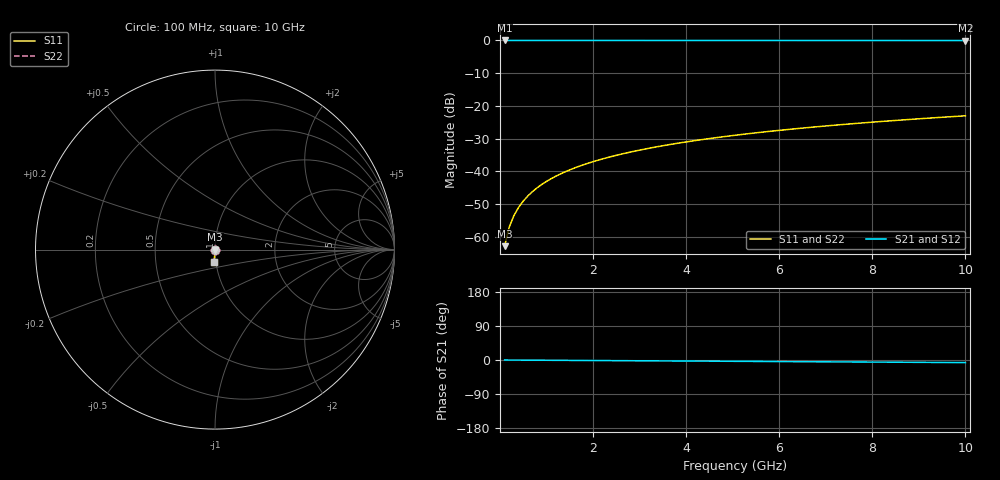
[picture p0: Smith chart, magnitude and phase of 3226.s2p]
# Hz S RI R 50.00
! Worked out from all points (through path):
!   100 points, 100 MHz to 10 GHz, reference 50 ohm
!   highest |S21| = 0.00 dB at 100 MHz (marker M1); lowest = 0.0 dB at 10 GHz (marker M2)
!   lowest |S11| = -62.8 dB at 100 MHz (marker M3), VSWR 1.00, Z = 50 - j0.0706 ohm
!   |S11| at or under -10 dB: start of sweep to end of sweep
!   |S22| runs from -62.8 to -23.0 dB; largest |S21 - S12| = 0
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1e8  0.000164 -0.000706  0.9998 -0.00119  0.9998 -0.00119  0.000164 -0.000706
2e8  0.000162 -0.00141  0.9998 -0.00238  0.9998 -0.00238  0.000162 -0.00141
3e8  0.000157 -0.00212  0.9998 -0.00357  0.9998 -0.00357  0.000157 -0.00212
4e8  0.000151 -0.00282  0.9998 -0.00476  0.9998 -0.00476  0.000151 -0.00282
5e8  0.000143 -0.00353  0.9998 -0.00595  0.9998 -0.00595  0.000143 -0.00353
6e8  0.000134 -0.00423  0.9998 -0.00715  0.9998 -0.00715  0.000134 -0.00423
7e8  0.000122 -0.00494  0.9998 -0.00834  0.9998 -0.00834  0.000122 -0.00494
8e8  0.000109 -0.00565  0.9998 -0.00953  0.9998 -0.00953  0.000109 -0.00565
9e8  9.45e-05 -0.00635  0.9997 -0.0107  0.9997 -0.0107  9.45e-05 -0.00635
1.1e9  5.98e-05 -0.00776  0.9997 -0.0131  0.9997 -0.0131  5.98e-05 -0.00776
1.4e9  -5.01e-06 -0.00988  0.9996 -0.0167  0.9996 -0.0167  -5.01e-06 -0.00988
1.8e9  -0.000115 -0.0127  0.9995 -0.0214  0.9995 -0.0214  -0.000115 -0.0127
2.1e9  -0.000216 -0.0148  0.9994 -0.025  0.9994 -0.025  -0.000216 -0.0148
2.5e9  -0.000373 -0.0176  0.9992 -0.0298  0.9992 -0.0298  -0.000373 -0.0176
2.9e9  -0.000558 -0.0205  0.999 -0.0346  0.999 -0.0346  -0.000558 -0.0205
3.4e9  -0.000827 -0.024  0.9987 -0.0405  0.9987 -0.0405  -0.000827 -0.024
4.2e9  -0.00135 -0.0296  0.9981 -0.05  0.9981 -0.05  -0.00135 -0.0296
5.1e9  -0.00206 -0.036  0.9973 -0.0608  0.9973 -0.0608  -0.00206 -0.036
5.9e9  -0.00281 -0.0416  0.9964 -0.0703  0.9964 -0.0703  -0.00281 -0.0416
6.7e9  -0.00366 -0.0472  0.9954 -0.0798  0.9954 -0.0798  -0.00366 -0.0472
8.4e9  -0.00585 -0.0591  0.9929 -0.1001  0.9929 -0.1001  -0.00585 -0.0591
1e10  -0.00835 -0.0703  0.9901 -0.119  0.9901 -0.119  -0.00835 -0.0703
